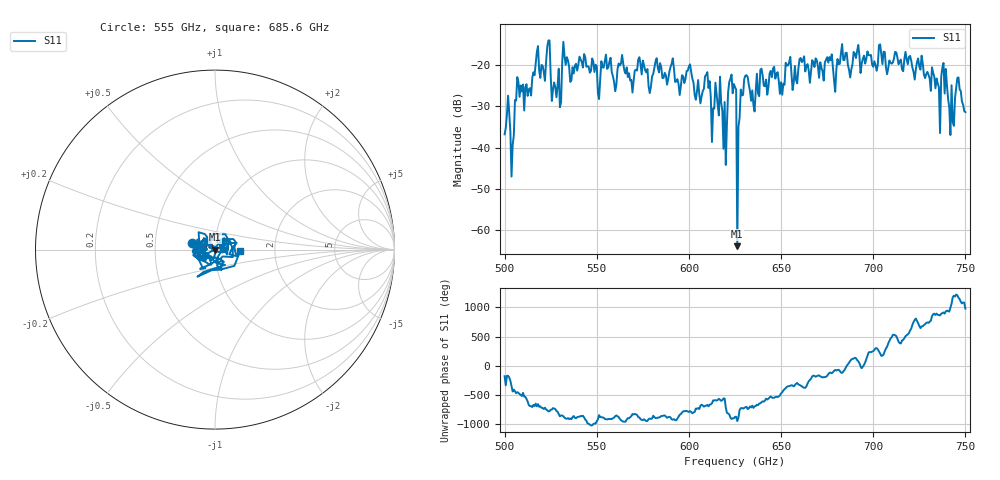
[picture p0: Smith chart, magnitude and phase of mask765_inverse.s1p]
!Created with skrf (http://scikit-rf.org).
# GHz S MA R 50.0
!freq magS11 angS11
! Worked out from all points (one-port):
!   401 points, 500 GHz to 750 GHz, reference 50 ohm
!   lowest |S11| = -63.9 dB at 626.2 GHz (marker M1), VSWR 1.00, Z = 50 + j0.0471 ohm
!   |S11| at or under -10 dB: start of sweep to end of sweep
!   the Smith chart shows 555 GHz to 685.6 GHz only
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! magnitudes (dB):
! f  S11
! 500 GHz  -36.8
! 504.4 GHz  -39.3
! 506.9 GHz  -22.9
! 513.8 GHz  -25.6
! 516.9 GHz  -19.5
! 523.8 GHz  -14.0
! 526.9 GHz  -24.2
! 531.2 GHz  -19.3
! 533.1 GHz  -19.9
! 550.6 GHz  -26.8
! 562.5 GHz  -20.1
! 593.8 GHz  -23.4
! 610 GHz  -21.7
! 619.4 GHz  -28.9
! 623.1 GHz  -22.3
! 624.4 GHz  -24.6
! 625 GHz  -25.3
! 626.2 GHz  -63.9
! 631.2 GHz  -22.4
! 635 GHz  -29.6
! 656.2 GHz  -26.0
! 687.5 GHz  -23.0
! 718.8 GHz  -19.8
! 735 GHz  -24.4
! 738.1 GHz  -19.5
! 742.5 GHz  -24.9
! 746.2 GHz  -23.0
! 750 GHz  -31.4
